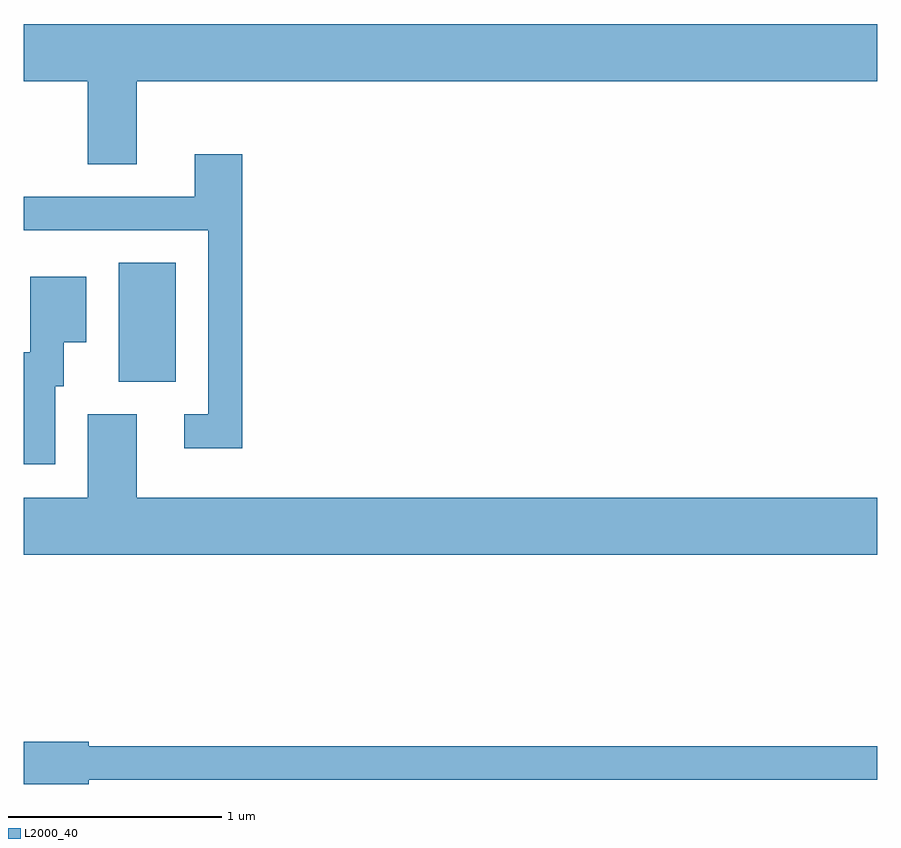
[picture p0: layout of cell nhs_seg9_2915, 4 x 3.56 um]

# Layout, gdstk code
import gdstk
lib = gdstk.Library(unit=1e-6, precision=1e-09)
def R(c, l, rs):  # rectangles x0, y0, x1, y1
    for r in rs: c.add(gdstk.rectangle(r[:2], r[2:], *l))
def P(c, l, *ps):  # polygons
    for p in ps: c.add(gdstk.Polygon(p, *l))
L2000_40 = (2000, 40)

nhs_seg9_2915 = lib.new_cell('nhs_seg9_2915')
R(nhs_seg9_2915, L2000_40, [(270.056,2072.546,270.324,2073.104)])
P(nhs_seg9_2915, L2000_40, [(270.139,2073.956),(273.611,2073.956),(273.611,2074.224),(269.611,2074.224),(269.611,2073.956),(269.911,2073.956),(269.911,2073.566),(270.139,2073.566)],
  [(270.634,2073.614),(270.411,2073.614),(270.411,2073.414),(269.611,2073.414),(269.611,2073.256),(270.476,2073.256),(270.476,2072.394),(270.363,2072.394),(270.363,2072.236),(270.634,2072.236)],
  [(269.759,2072.526),(269.799,2072.526),(269.799,2072.731),(269.904,2072.731),(269.904,2073.039),(269.641,2073.039),(269.641,2072.684),(269.611,2072.684),(269.611,2072.161),(269.759,2072.161)],
  [(273.611,2072.004),(270.139,2072.004),(270.139,2072.394),(269.911,2072.394),(269.911,2072.004),(269.611,2072.004),(269.611,2071.736),(273.611,2071.736)],
  [(269.914,2070.681),(273.611,2070.681),(273.611,2070.839),(269.914,2070.839),(269.914,2070.859),(269.611,2070.859),(269.611,2070.661),(269.914,2070.661)])

lib.write_gds('nhs_seg9_2915.gds')
